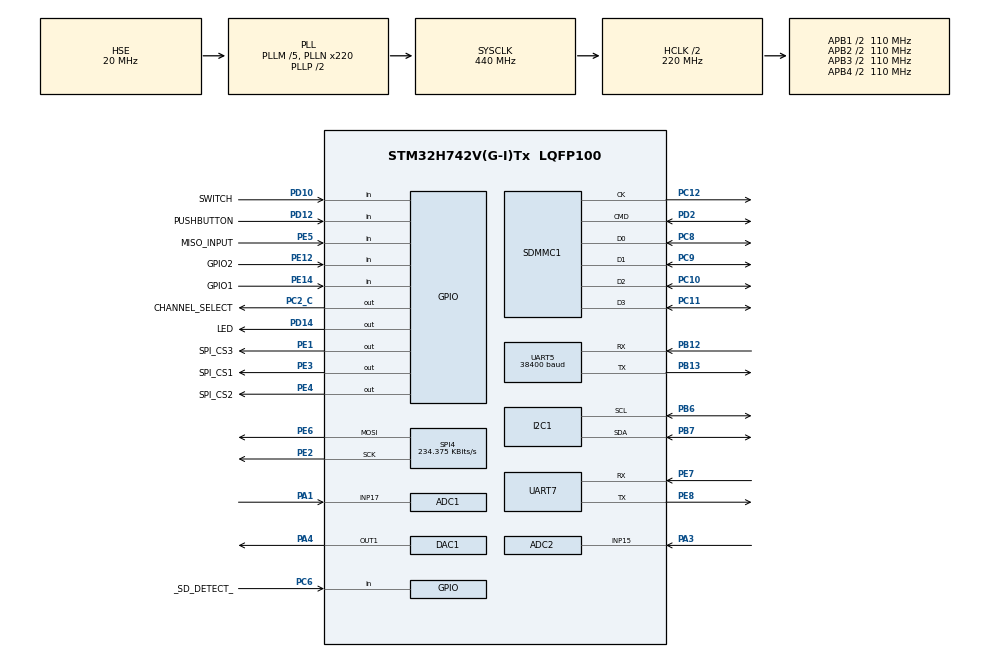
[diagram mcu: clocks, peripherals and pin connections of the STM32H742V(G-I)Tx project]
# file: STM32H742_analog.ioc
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ADC1.Channel-1\#ChannelRegularConversion=ADC_CHANNEL_17
ADC1.ClockPrescaler=ADC_CLOCK_ASYNC_DIV2
ADC1.ClockPrescalerADC3=ADC_CLOCK_ASYNC_DIV2
ADC1.Mode=ADC_DUALMODE_REGSIMULT
ADC1.NbrOfConversionFlag=1
ADC1.OffsetNumber-1\#ChannelRegularConversion=ADC_OFFSET_NONE
ADC1.OffsetSignedSaturation-1\#ChannelRegularConversion=DISABLE
ADC1.Overrun=ADC_OVR_DATA_OVERWRITTEN
ADC1.Rank-1\#ChannelRegularConversion=1
ADC1.SamplingTime-1\#ChannelRegularConversion=ADC_SAMPLETIME_16CYCLES_5
ADC1.master=1
ADC2.Channel-1\#ChannelRegularConversion=ADC_CHANNEL_15
ADC2.ClockPrescaler=ADC_CLOCK_ASYNC_DIV2
ADC2.ClockPrescalerADC3=ADC_CLOCK_ASYNC_DIV2
ADC2.Mode=ADC_DUALMODE_REGSIMULT
ADC2.NbrOfConversionFlag=1
ADC2.OffsetNumber-1\#ChannelRegularConversion=ADC_OFFSET_NONE
ADC2.OffsetSignedSaturation-1\#ChannelRegularConversion=DISABLE
ADC2.Overrun=ADC_OVR_DATA_OVERWRITTEN
ADC2.Rank-1\#ChannelRegularConversion=1
ADC2.SamplingTime-1\#ChannelRegularConversion=ADC_SAMPLETIME_16CYCLES_5
CORTEX_M7.CPU_DCache=Enabled
CORTEX_M7.CPU_ICache=Enabled
CORTEX_M7.default_mode_Activation=1
DAC1.DAC_Channel-DAC_OUT1=DAC_CHANNEL_1
FATFS.BSP.number=1
FATFS0.BSP.STBoard=false
FATFS0.BSP.api=Unknown
FATFS0.BSP.instance=PC6
FATFS0.BSP.ip=GPIO
FATFS0.BSP.mode=Input
FATFS0.BSP.name=Detect_SDIO
FATFS0.BSP.solution=PC6
I2C1.Analog_Filter=I2C_ANALOGFILTER_DISABLE
I2C1.Timing=0x00404D75
Mcu.Family=STM32H7
Mcu.Name=STM32H742V(G-I)Tx
Mcu.Package=LQFP100
NVIC.PriorityGroup=NVIC_PRIORITYGROUP_4
NVIC.TIM2_IRQn=true\:0\:0\:false\:false\:true\:true\:true\:true
NVIC.UART5_IRQn=true\:10\:0\:true\:false\:true\:true\:true\:true
NVIC.UART7_IRQn=true\:10\:0\:true\:false\:true\:true\:true\:true
PA1.Mode=IN17-Single-Ended
PA1.Signal=ADC1_INP17
PA13\ (JTMS/SWDIO).Mode=JTAG_4_pins
PA13\ (JTMS/SWDIO).Signal=DEBUG_JTMS-SWDIO
PA14\ (JTCK/SWCLK).Mode=JTAG_4_pins
PA14\ (JTCK/SWCLK).Signal=DEBUG_JTCK-SWCLK
PA15\ (JTDI).Mode=JTAG_4_pins
PA15\ (JTDI).Signal=DEBUG_JTDI
PA3.Signal=ADCx_INP15
PA4.Signal=COMP_DAC11_group
PB12.Mode=Asynchronous
PB12.Signal=UART5_RX
PB13.Mode=Asynchronous
PB13.Signal=UART5_TX
PB3\ (JTDO/TRACESWO).Mode=JTAG_4_pins
PB3\ (JTDO/TRACESWO).Signal=DEBUG_JTDO-SWO
PB6.GPIO_Speed=GPIO_SPEED_FREQ_MEDIUM
PB6.Mode=I2C
PB6.Signal=I2C1_SCL
PB7.GPIO_Speed=GPIO_SPEED_FREQ_MEDIUM
PB7.Mode=I2C
PB7.Signal=I2C1_SDA
PC10.GPIO_PuPd=GPIO_PULLUP
PC10.GPIO_Speed_High_Default=GPIO_SPEED_FREQ_MEDIUM
PC10.Mode=SD_4_bits_Wide_bus
PC10.Signal=SDMMC1_D2
PC11.GPIO_PuPd=GPIO_PULLUP
PC11.GPIO_Speed_High_Default=GPIO_SPEED_FREQ_MEDIUM
PC11.Mode=SD_4_bits_Wide_bus
PC11.Signal=SDMMC1_D3
PC12.GPIO_Speed_High_Default=GPIO_SPEED_FREQ_MEDIUM
PC12.Mode=SD_4_bits_Wide_bus
PC12.Signal=SDMMC1_CK
PC2_C.GPIO_Label=CHANNEL_SELECT
PC2_C.Signal=GPIO_Output
PC6.GPIO_Label=_SD_DETECT_
PC6.GPIO_PuPd=GPIO_PULLUP
PC6.Signal=GPIO_Input
PC8.GPIO_PuPd=GPIO_PULLUP
PC8.GPIO_Speed_High_Default=GPIO_SPEED_FREQ_MEDIUM
PC8.Mode=SD_4_bits_Wide_bus
PC8.Signal=SDMMC1_D0
PC9.GPIO_PuPd=GPIO_PULLUP
PC9.GPIO_Speed_High_Default=GPIO_SPEED_FREQ_MEDIUM
PC9.Mode=SD_4_bits_Wide_bus
PC9.Signal=SDMMC1_D1
PD10.GPIO_Label=SWITCH
PD10.Signal=GPIO_Input
PD12.GPIO_Label=PUSHBUTTON
PD12.Signal=GPIO_Input
PD14.GPIO_Label=LED
PD14.GPIO_Speed=GPIO_SPEED_FREQ_VERY_HIGH
PD14.Signal=GPIO_Output
PD2.GPIO_PuPd=GPIO_PULLUP
PD2.GPIO_Speed_High_Default=GPIO_SPEED_FREQ_MEDIUM
PD2.Mode=SD_4_bits_Wide_bus
PD2.Signal=SDMMC1_CMD
PE1.GPIO_Label=SPI_CS3
PE1.Signal=GPIO_Output
PE12.GPIO_Label=GPIO2
PE12.GPIO_PuPd=GPIO_PULLUP
PE12.Signal=GPIO_Input
PE14.GPIO_Label=GPIO1
PE14.GPIO_PuPd=GPIO_PULLUP
PE14.Signal=GPIO_Input
PE2.Mode=TX_Only_Simplex_Unidirect_Master
PE2.Signal=SPI4_SCK
PE3.GPIO_Label=SPI_CS1
PE3.Signal=GPIO_Output
PE4.GPIO_Label=SPI_CS2
PE4.GPIO_ModeDefaultOutputPP=GPIO_MODE_OUTPUT_PP
PE4.GPIO_PuPd=GPIO_NOPULL
PE4.Signal=GPIO_Output
PE5.GPIO_Label=MISO_INPUT
PE5.Signal=GPIO_Input
PE6.Mode=TX_Only_Simplex_Unidirect_Master
PE6.Signal=SPI4_MOSI
PE7.GPIO_PuPd=GPIO_PULLUP
PE7.Mode=Asynchronous
PE7.Signal=UART7_RX
PE8.Mode=Asynchronous
PE8.Signal=UART7_TX
PH0-OSC_IN\ (PH0).Mode=HSE-External-Clock-Source
PH0-OSC_IN\ (PH0).Signal=RCC_OSC_IN
ProjectManager.HeapSize=0x200
ProjectManager.StackSize=0x400
ProjectManager.TargetToolchain=STM32CubeIDE
RCC.ADCCLockSelection=RCC_ADCCLKSOURCE_PLL3
RCC.ADCFreq_Value=20000000
RCC.APB1Freq_Value=110000000
RCC.APB2Freq_Value=110000000
RCC.APB3Freq_Value=110000000
RCC.APB4Freq_Value=110000000
RCC.CortexFreq_Value=440000000
RCC.D1PPRE=RCC_APB3_DIV2
RCC.D2PPRE1=RCC_APB1_DIV2
RCC.D2PPRE2=RCC_APB2_DIV2
RCC.D3PPRE=RCC_APB4_DIV2
RCC.DIVM1=5
RCC.DIVM2=10
RCC.DIVM3=10
RCC.DIVN1=220
RCC.DIVN2=240
RCC.DIVN3=240
RCC.DIVP2=8
RCC.DIVP3=8
RCC.DIVQ2=64
RCC.DIVQ3=10
RCC.DIVR2=8
RCC.DIVR3=24
RCC.FLatency-AdvancedSettings=FLASH_LATENCY_0
RCC.HCLKFreq_Value=220000000
RCC.HPRE=RCC_HCLK_DIV2
RCC.HSE_VALUE=20000000
RCC.I2C123CLockSelection=RCC_I2C123CLKSOURCE_PLL3
RCC.PLL1_VCI_Range-AdvancedSettings=RCC_PLL1VCIRANGE_0
RCC.PLL1_VCO_SEL-AdvancedSettings=RCC_PLL1VCOMEDIUM
RCC.PLL2_VCI_Range-AdvancedSettings=RCC_PLL2VCIRANGE_0
RCC.PLL3_VCI_Range-AdvancedSettings=RCC_PLL3VCIRANGE_0
RCC.PLL3_VCO_SEL-AdvancedSettings=RCC_PLL3VCOMEDIUM
RCC.PLLSourceVirtual=RCC_PLLSOURCE_HSE
RCC.SDMMC1CLockSelection=RCC_SDMMCCLKSOURCE_PLL2
RCC.SPI123CLockSelection=RCC_SPI123CLKSOURCE_PLL3
RCC.SYSCLKFreq_VALUE=440000000
RCC.SYSCLKSource=RCC_SYSCLKSOURCE_PLLCLK
RCC.Spi45ClockSelection=RCC_SPI45CLKSOURCE_PLL2
RCC.USART234578CLockSelection=RCC_USART234578CLKSOURCE_PLL2
RCC.USBCLockSelection=RCC_USBCLKSOURCE_PLL3
RCC.USBFreq_Value=48000000
SDMMC1.ClockDiv=3
SH.ADCx_INP15.0=ADC2_INP15,IN15-Single-Ended
SH.COMP_DAC11_group.0=DAC1_OUT1,DAC_OUT1
SPI4.BaudRatePrescaler=SPI_BAUDRATEPRESCALER_32
SPI4.CalculateBaudRate=234.375 KBits/s
SPI4.DataSize=SPI_DATASIZE_8BIT
SPI4.Direction=SPI_DIRECTION_2LINES_TXONLY
SPI4.Mode=SPI_MODE_MASTER
SPI4.VirtualType=VM_MASTER
TIM2.AutoReloadPreload=TIM_AUTORELOAD_PRELOAD_ENABLE
TIM2.CounterMode=TIM_COUNTERMODE_DOWN
TIM2.Period=999
TIM2.TIM_MasterOutputTrigger=TIM_TRGO_UPDATE
UART5.BaudRate=38400
VP_FATFS_VS_SDIO.Mode=SDIO
VP_MEMORYMAP_VS_MEMORYMAP.Mode=CurAppReg
VP_TIM2_VS_ClockSourceINT.Mode=Internal
VREF+.Mode=InternalMode
VREF+.Signal=VREFBUF_OUT
VREFBUF.VoltageScaling=SYSCFG_VREFBUF_VOLTAGE_SCALE0
board=custom

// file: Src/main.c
/* USER CODE BEGIN Header */
/**
  ******************************************************************************
  * @file           : main.c
  * @brief          : Main program body
  ******************************************************************************
  * @attention
  *
  * Copyright (c) 2025 STMicroelectronics.
  * All rights reserved.
  *
  * This software is licensed under terms that can be found in the LICENSE file
  * in the root directory of this software component.
  * If no LICENSE file comes with this software, it is provided AS-IS.
  *
  ******************************************************************************
  */
/* USER CODE END Header */
#include "main.h"
#include "fatfs.h"

/* USER CODE BEGIN Includes */
#include <string.h> // memcpy
#include <unistd.h> // sbrk
#include <stdio.h> // sprintf
#include "../os/hal_plat.h" // HAL
#include "../os/commands.h"
#include "instances.h"
#include "../os/resource.h"
#include "../os/parser.h"
#include "sdfatfs_wrapper.h"
#include "adcdac.h"
#include "../os/terminal_input.h"
#include "../pcmstream/pcmstream.h"

/* USER CODE END Includes */

/* USER CODE BEGIN PD */

fifo_t* console_usart_stream;
fifo_t* aux_usart_stream;

/* USER CODE END PD */

ADC_HandleTypeDef hadc1;
ADC_HandleTypeDef hadc2;

DAC_HandleTypeDef hdac1;

I2C_HandleTypeDef hi2c1;

SD_HandleTypeDef hsd1;

SPI_HandleTypeDef hspi4;

TIM_HandleTypeDef htim2;

UART_HandleTypeDef huart5;
UART_HandleTypeDef huart7;

void SystemClock_Config(void);
void PeriphCommonClock_Config(void);
static void MPU_Config(void);
static void MX_GPIO_Init(void);
static void MX_ADC1_Init(void);
static void MX_ADC2_Init(void);
static void MX_DAC1_Init(void);
static void MX_SDMMC1_SD_Init(void);
static void MX_UART5_Init(void);
static void MX_SPI4_Init(void);
static void MX_I2C1_Init(void);
static void MX_TIM2_Init(void);
static void MX_UART7_Init(void);

/* USER CODE BEGIN 0 */

void rf_pll_register_write (uint32_t r) {
	uint32_t n = u32_swap_endian(r); // max2871 needs big-endian
	HAL_GPIO_WritePin(SPI_CS3_GPIO_Port, SPI_CS3_Pin, GPIO_PIN_RESET); // LE low
	HAL_SPI_Transmit(&hspi4, (uint8_t*)&n, sizeof(n), 500); // Transmit 32 bits
	HAL_GPIO_WritePin(SPI_CS3_GPIO_Port, SPI_CS3_Pin, GPIO_PIN_SET); // LE high
}

void rf_pll_idle_wait (void) {
	HAL_GPIO_WritePin(SPI_CS3_GPIO_Port, SPI_CS3_Pin, GPIO_PIN_SET);
	HAL_Delay(30);
}

void lo_pll_register_write (uint32_t r) {
	uint32_t n = u32_swap_endian(r); // max2871 needs big-endian
	HAL_GPIO_WritePin(SPI_CS2_GPIO_Port, SPI_CS2_Pin, GPIO_PIN_RESET); // LE low
	HAL_SPI_Transmit(&hspi4, (uint8_t*)&n, sizeof(n), 500); // Transmit 32 bits
	HAL_GPIO_WritePin(SPI_CS2_GPIO_Port, SPI_CS2_Pin, GPIO_PIN_SET); // LE high
}

void lo_pll_idle_wait (void) {
	HAL_GPIO_WritePin(SPI_CS2_GPIO_Port, SPI_CS2_Pin, GPIO_PIN_SET);
	HAL_Delay(30);
}

void attenuator_write (bda4700_t* instance, uint8_t n) {
	HAL_GPIO_WritePin(SPI_CS1_GPIO_Port, SPI_CS1_Pin, GPIO_PIN_RESET); // LE low
	HAL_SPI_Transmit(&hspi4, &n, sizeof(n), 500); // Transmit 8 bits
	HAL_GPIO_WritePin(SPI_CS1_GPIO_Port, SPI_CS1_Pin, GPIO_PIN_SET); // LE high
}

#define AT24C256_I2CADDR (0xA0)
#define AT24C256_PAGE (64)
#define AT24C256_MAX_PAGEADDRESS ((32768) / (AT24C256_PAGE))

int
at24c256_read_page (blockdevice_t* blockdevice, int pageaddress) {
	int ret = AT24C256_PAGE;
	HAL_StatusTypeDef rc;

	if (pageaddress >= AT24C256_MAX_PAGEADDRESS) {
		return 0;
	}
	uint8_t wpayload[2];

	wpayload[0] = ((pageaddress * AT24C256_PAGE) >> 8) & 0xFF; // MSB
	wpayload[1] = (pageaddress * AT24C256_PAGE) & 0xFF; // LSB
	rc = HAL_I2C_Master_Transmit(&hi2c1, AT24C256_I2CADDR, wpayload, sizeof(wpayload), 500);
	if (rc) {
		console_printf("i2c error 1 %i", rc);
		ret = 0;
	}
	rc = HAL_I2C_Master_Receive(&hi2c1, AT24C256_I2CADDR, (uint8_t*)blockdevice->buffer, AT24C256_PAGE, 500);
	if (rc) {
		console_printf("i2c error 2 %i", rc);
		ret = 0;
	}
	return ret;
}

int
at24c256_write_page (blockdevice_t* blockdevice, int pageaddress) {
	int ret = AT24C256_PAGE;
	HAL_StatusTypeDef rc;

	if (pageaddress >= AT24C256_MAX_PAGEADDRESS) {
		return 0;
	}
	uint8_t wpayload[2 + AT24C256_PAGE];

	wpayload[0] = ((pageaddress * AT24C256_PAGE) >> 8) & 0xFF; // MSB
	wpayload[1] = (pageaddress * AT24C256_PAGE) & 0xFF; // LSB
	memcpy(&(wpayload[2]), blockdevice->buffer, AT24C256_PAGE);

	rc = HAL_I2C_Master_Transmit(&hi2c1, AT24C256_I2CADDR, wpayload, sizeof(wpayload), 500);
	if (rc) {
		console_printf("i2c w error %i", rc);
		ret = 0;
	}
	delay_ms(100);

	return ret;
}

#define RAMDRIVE_PAGE (64)
#define RAMDRIVE_SIZE (32768)
#define RAMDRIVE_MAX_PAGEADDRESS ((32768) / (RAMDRIVE_PAGE))

int
ramdrive_read_page (blockdevice_t* blockdevice, int pageaddress) {
	if (pageaddress >= RAMDRIVE_MAX_PAGEADDRESS) {
		return 0;
	}
	memcpy(blockdevice->buffer, blockdevice->context + (pageaddress * RAMDRIVE_PAGE), RAMDRIVE_PAGE);
	return RAMDRIVE_PAGE;
}

int
ramdrive_write_page (blockdevice_t* blockdevice, int pageaddress) {
	if (pageaddress >= RAMDRIVE_MAX_PAGEADDRESS) {
		return 0;
	}
	memcpy(blockdevice->context + (pageaddress * RAMDRIVE_PAGE), blockdevice->buffer, RAMDRIVE_PAGE);
	return RAMDRIVE_PAGE;
}

char get_online_char (void) {
	char c;
	fifo_pop_or_sleep(console_usart_stream, &c);
	return c;
}

int wait_online_char (int timeout) {
	while (fifo_isempty(console_usart_stream)) {
		delay_ms(10);
		timeout -= 10;
		if (timeout <= 0) {
			return 0;
		}
	}
	return 1;
}

void put_online_char (char c) {
	console_putchar(c);
}

char get_aux_uart_char (void) {
	char c;
	fifo_pop_or_sleep(aux_usart_stream, &c);
	return c;
}

int wait_aux_uart_char (int timeout) {
	while (fifo_isempty(aux_usart_stream)) {
		delay_ms(10);
		timeout -= 10;
		if (timeout <= 0) {
			return 0;
		}
	}
	return 1;
}

void put_aux_uart_char (const char c) {
	HAL_UART_Transmit(&huart7, (uint8_t*)&c, 1, 1);
}

/* USER CODE END 0 */

int main(void)
{

  /* USER CODE BEGIN 1 */

  blockdevice_t *eeprom;
  blockdevice_t *ramdrive;
  fs_t *ramfs;

  /* USER CODE END 1 */

  /* MPU Configuration--------------------------------------------------------*/
  MPU_Config();

  /* Enable the CPU Cache */

  /* Enable I-Cache---------------------------------------------------------*/
  SCB_EnableICache();

  /* Enable D-Cache---------------------------------------------------------*/
  SCB_EnableDCache();

  /* MCU Configuration--------------------------------------------------------*/

  /* Reset of all peripherals, Initializes the Flash interface and the Systick. */
  HAL_Init();

  /* USER CODE BEGIN Init */

  console_usart_stream = fifo_create(16, sizeof(char));
  if (!console_usart_stream) {
	  cpu_halt();
  }

  aux_usart_stream = fifo_create(128, sizeof(char));
  if (!aux_usart_stream) {
  	  cpu_halt();
  }

  /* USER CODE END Init */

  /* Configure the system clock */
  SystemClock_Config();

  /* Configure the peripherals common clocks */
  PeriphCommonClock_Config();

  /* Initialize all configured peripherals */
  MX_GPIO_Init();
  MX_ADC1_Init();
  MX_ADC2_Init();
  MX_DAC1_Init();
  MX_SDMMC1_SD_Init();
  MX_UART5_Init();
  MX_FATFS_Init();
  MX_SPI4_Init();
  MX_I2C1_Init();
  MX_TIM2_Init();
  MX_UART7_Init();
  /* USER CODE BEGIN 2 */

  __HAL_UART_ENABLE_IT(&huart5, UART_IT_RXNE);
  __HAL_UART_ENABLE_IT(&huart7, UART_IT_RXNE);

  NVIC_EnableIRQ(TIM2_IRQn);

  console_printf("");

  scheduler = scheduler_create();
  if (!scheduler) {
	  console_printf("scheduler init error");
	  cpu_halt();
  }

  // RF PLL instance
  rf_pll = max2871_create(rf_pll_register_write, rf_pll_idle_wait);
  if (!rf_pll) {
	  console_printf("RF PLL init error");
	  cpu_halt();
  }

  // LO PLL instance
  lo_pll = max2871_create(lo_pll_register_write, lo_pll_idle_wait);
  if (!lo_pll) {
	  console_printf("LO PLL init error");
	  cpu_halt();
  }

  // Attenuator instance
  attenuator = bda4700_create(attenuator_write);
  if (!attenuator) {
  	  console_printf("Attenuator init error");
  	  cpu_halt();
  }

  // EEPROM instance
  eeprom = blockdevice_create(AT24C256_PAGE, AT24C256_MAX_PAGEADDRESS, at24c256_read_page, at24c256_write_page, NULL);
  if (!eeprom) {
	  console_printf("EEPROM init error");
	  cpu_halt();
  }
  //eeprom->read_block(eeprom, 0); // XXX This is to try to mitigate a rare I2C startup bug

  eepromfs = fs_create(eeprom);
  if (!eepromfs) {
  	  console_printf("eepromFS init error");
  	  cpu_halt();
  }

  if (!fs_verify(eepromfs)) {
	  delay_ms(2000);
	  console_printf("m1:0x%04x m2:0x%04x entries:%i", eepromfs->params.magic1, eepromfs->params.magic2, eepromfs->params.rootdir_entries);
  	  console_printf("Formatting EEPROM");
  	  //fs_format(eepromfs, 16);
  }

  void* ramdrvmem = t_malloc(RAMDRIVE_SIZE);
  if (!ramdrvmem) {
  	  console_printf("RAMDRIVE alloc error");
  	  cpu_halt();
    }
  // RAM instance
  ramdrive = blockdevice_create(RAMDRIVE_PAGE, RAMDRIVE_MAX_PAGEADDRESS, ramdrive_read_page, ramdrive_write_page, ramdrvmem);
  if (!ramdrive) {
	  console_printf("RAMDRIVE init error");
	  cpu_halt();
  }

  ramfs = fs_create(ramdrive);
  if (!ramfs) {
  	  console_printf("ramFS init error");
  	  cpu_halt();
  }
  fs_format(ramfs, 16); // Always format the ramdrive at each stratup

  fs = fs_broker_create();
  if (!fs) {
	  console_printf("FSbroker init error");
	  cpu_halt();
  }

  fs_broker_register_fs(fs,
		  	  	  	    eepromfs,
						'E',
		  	  	  	    (int (*)(void*, char*, int)) fs_open,
						(void (*) (void*, int)) fs_close,
						(void (*) (void*, int)) fs_rewind,
						(int (*) (void*, int, char*, int)) fs_read,
						(int (*) (void*, int, int)) fs_watch_read,
						(int (*) (void*, int, char*, int)) fs_write,
						(int (*) (void*, char*)) fs_delete,
						(int (*) (void*)) fs_opendir,
						(int (*) (void*, char**, int*)) fs_walkdir,
						(int (*) (void*)) fs_closedir);

  fs_broker_register_fs(fs,
		  	  	  	    ramfs,
						'M',
		  	  	  	    (int (*)(void*, char*, int)) fs_open,
						(void (*) (void*, int)) fs_close,
						(void (*) (void*, int)) fs_rewind,
						(int (*) (void*, int, char*, int)) fs_read,
						(int (*) (void*, int, int)) fs_watch_read,
						(int (*) (void*, int, char*, int)) fs_write,
						(int (*) (void*, char*)) fs_delete,
						(int (*) (void*)) fs_opendir,
						(int (*) (void*, char**, int*)) fs_walkdir,
						(int (*) (void*)) fs_closedir);

  if (!HAL_GPIO_ReadPin(_SD_DETECT__GPIO_Port, _SD_DETECT__Pin)) { // grounded pin means SD card is inserted
	  sdfatfs_wrapper_t sdfatfs;
	  if (!sdfatfswrapper_init(&sdfatfs)) {
		  console_printf("SDFATFS init error");
		  cpu_halt();
	  }
	  fs_broker_register_fs(fs,
							&sdfatfs,
							'S',
							(int (*)(void*, char*, int)) sdfatfswrapper_open,
							(void (*) (void* fs, int fd)) sdfatfswrapper_close,
							(void (*) (void*, int)) sdfatfswrapper_rewind,
							(int (*) (void* fs, int fd, char* buf, int count)) sdfatfswrapper_read,
							(int (*) (void* fs, int fd, int ms)) sdfatfswrapper_watch_read,
							(int (*) (void* fs, int fd, char* buf, int count)) sdfatfswrapper_write,
							(int (*) (void*, char*)) sdfatfswrapper_delete,
							(int (*) (void*)) sdfatfswrapper_opendir,
							(int (*) (void*, char**, int*)) sdfatfswrapper_walkdir,
							(int (*) (void*)) sdfatfswrapper_closedir);
  }

  program = program_create(20, 80); // 20 lines, 80 characters each -> 1.6k max program size
  if (!program) {
  	  console_printf("program init error");
  	  cpu_halt();
  }

  generic_fs_t *devfs = generic_fs_create();
  if (!ramfs) {
	  console_printf("devfs init error");
	  cpu_halt();
  }

  generic_file_t *nullfile = generic_file_create ("null", NULL,
													  nullfile_open,
													  nullfile_close,
													  nullfile_read,
													  nullfile_watch_read,
													  nullfile_write);

  if (generic_fs_register_file(devfs, nullfile) < 0) {
	  console_printf("file reg error");
	  cpu_halt();
  }

  terminal_input_t* terminal = terminal_input_create(get_online_char,
		  	  	  	  	  	  	  	  	  	  	     wait_online_char,
													 put_online_char,
													 1,
													 program->header.fields.linelen - 2);
  if (!terminal) {
  	  console_printf("terminal init error");
  	  cpu_halt();
  }

  generic_file_t *confile = generic_file_create ("con", terminal,
													  nullfile_open,
													  nullfile_close,
													  consolefile_readline_canonical,
													  consolefile_watch_read,
													  consolefile_write);

  if (generic_fs_register_file(devfs, confile) < 0) {
	  console_printf("file reg error");
	  cpu_halt();
  }

  terminal_input_t* aux_uart = terminal_input_create(get_aux_uart_char,
          	  	  	  	  	  	  	  	  	  	  	 wait_aux_uart_char,
													 put_aux_uart_char,
													 0,
													 8); // Line is not used
  if (!aux_uart) {
  	  console_printf("terminal init error");
  	  cpu_halt();
  }

  generic_file_t *uartfile = generic_file_create ("uart", aux_uart,
													  nullfile_open,
													  nullfile_close,
													  consolefile_read,
													  consolefile_watch_read,
													  consolefile_write);

  if (generic_fs_register_file(devfs, uartfile) < 0) {
	  console_printf("file reg error");
	  cpu_halt();
  }

  fs_broker_register_fs(fs,
		  	  	  	    devfs,
						'D',
		  	  	  	    (int (*)(void*, char*, int)) generic_fs_open,
						(void (*) (void*, int)) generic_fs_close,
						(void (*) (void*, int)) generic_fs_rewind,
						(int (*) (void*, int, char*, int)) generic_fs_read,
						(int (*) (void*, int, int)) generic_fs_watch_read,
						(int (*) (void*, int, char*, int)) generic_fs_write,
						(int (*) (void*, char*)) generic_fs_delete,
						(int (*) (void*)) generic_fs_opendir,
						(int (*) (void*, char**, int*)) generic_fs_walkdir,
						(int (*) (void*)) generic_fs_closedir);

  setup_commands();
  pcmstream_cmds_setup();
  setup_persona_commands();

  ledflash(2);

  program_ip = 0;
  program_run = 0;
  subroutine_sp = 0;

  int fcon = open_f(fs, "D:con", 0);
  if (fcon < 0) {
	  console_printf("conio file error");
	  cpu_halt();
  }

  iostack = NULL;
  stdiostack_push(&iostack, fcon, fcon, fcon);

  if (load_autorun_program()) {
  	  console_printf("program loaded");
  	  if (!switchbreak()) {
  		  execute_program(program, NULL, NULL);
  	  }
  }

  /* USER CODE END 2 */

  /* Infinite loop */
  /* USER CODE BEGIN WHILE */
  while (1)
  {
	  command_line_loop();
	  printf_f(STDERR, "respawning..\n");

    /* USER CODE END WHILE */

  }
}

void SystemClock_Config(void)
{
  RCC_OscInitTypeDef RCC_OscInitStruct = {0};
  RCC_ClkInitTypeDef RCC_ClkInitStruct = {0};

  /** Supply configuration update enable
  */
  HAL_PWREx_ConfigSupply(PWR_LDO_SUPPLY);

  /** Configure the main internal regulator output voltage
  */
  __HAL_PWR_VOLTAGESCALING_CONFIG(PWR_REGULATOR_VOLTAGE_SCALE1);

  while(!__HAL_PWR_GET_FLAG(PWR_FLAG_VOSRDY)) {}

  __HAL_RCC_SYSCFG_CLK_ENABLE();
  __HAL_PWR_VOLTAGESCALING_CONFIG(PWR_REGULATOR_VOLTAGE_SCALE0);

  while(!__HAL_PWR_GET_FLAG(PWR_FLAG_VOSRDY)) {}

  /** Initializes the RCC Oscillators according to the specified parameters
  * in the RCC_OscInitTypeDef structure.
  */
  RCC_OscInitStruct.OscillatorType = RCC_OSCILLATORTYPE_HSE;
  RCC_OscInitStruct.HSEState = RCC_HSE_BYPASS;
  RCC_OscInitStruct.PLL.PLLState = RCC_PLL_ON;
  RCC_OscInitStruct.PLL.PLLSource = RCC_PLLSOURCE_HSE;
  RCC_OscInitStruct.PLL.PLLM = 5;
  RCC_OscInitStruct.PLL.PLLN = 220;
  RCC_OscInitStruct.PLL.PLLP = 2;
  RCC_OscInitStruct.PLL.PLLQ = 2;
  RCC_OscInitStruct.PLL.PLLR = 2;
  RCC_OscInitStruct.PLL.PLLRGE = RCC_PLL1VCIRANGE_2;
  RCC_OscInitStruct.PLL.PLLVCOSEL = RCC_PLL1VCOWIDE;
  RCC_OscInitStruct.PLL.PLLFRACN = 0;
  if (HAL_RCC_OscConfig(&RCC_OscInitStruct) != HAL_OK)
  {
    Error_Handler();
  }

  /** Initializes the CPU, AHB and APB buses clocks
  */
  RCC_ClkInitStruct.ClockType = RCC_CLOCKTYPE_HCLK|RCC_CLOCKTYPE_SYSCLK
                              |RCC_CLOCKTYPE_PCLK1|RCC_CLOCKTYPE_PCLK2
                              |RCC_CLOCKTYPE_D3PCLK1|RCC_CLOCKTYPE_D1PCLK1;
  RCC_ClkInitStruct.SYSCLKSource = RCC_SYSCLKSOURCE_PLLCLK;
  RCC_ClkInitStruct.SYSCLKDivider = RCC_SYSCLK_DIV1;
  RCC_ClkInitStruct.AHBCLKDivider = RCC_HCLK_DIV2;
  RCC_ClkInitStruct.APB3CLKDivider = RCC_APB3_DIV2;
  RCC_ClkInitStruct.APB1CLKDivider = RCC_APB1_DIV2;
  RCC_ClkInitStruct.APB2CLKDivider = RCC_APB2_DIV2;
  RCC_ClkInitStruct.APB4CLKDivider = RCC_APB4_DIV2;

  if (HAL_RCC_ClockConfig(&RCC_ClkInitStruct, FLASH_LATENCY_3) != HAL_OK)
  {
    Error_Handler();
  }
}

void PeriphCommonClock_Config(void)
{
  RCC_PeriphCLKInitTypeDef PeriphClkInitStruct = {0};

  /** Initializes the peripherals clock
  */
  PeriphClkInitStruct.PeriphClockSelection = RCC_PERIPHCLK_ADC|RCC_PERIPHCLK_I2C1
                              |RCC_PERIPHCLK_SDMMC|RCC_PERIPHCLK_SPI4
                              |RCC_PERIPHCLK_UART5|RCC_PERIPHCLK_UART7;
  PeriphClkInitStruct.PLL2.PLL2M = 10;
  PeriphClkInitStruct.PLL2.PLL2N = 240;
  PeriphClkInitStruct.PLL2.PLL2P = 8;
  PeriphClkInitStruct.PLL2.PLL2Q = 64;
  PeriphClkInitStruct.PLL2.PLL2R = 8;
  PeriphClkInitStruct.PLL2.PLL2RGE = RCC_PLL2VCIRANGE_1;
  PeriphClkInitStruct.PLL2.PLL2VCOSEL = RCC_PLL2VCOWIDE;
  PeriphClkInitStruct.PLL2.PLL2FRACN = 0;
  PeriphClkInitStruct.PLL3.PLL3M = 10;
  PeriphClkInitStruct.PLL3.PLL3N = 240;
  PeriphClkInitStruct.PLL3.PLL3P = 8;
  PeriphClkInitStruct.PLL3.PLL3Q = 10;
  PeriphClkInitStruct.PLL3.PLL3R = 24;
  PeriphClkInitStruct.PLL3.PLL3RGE = RCC_PLL3VCIRANGE_1;
  PeriphClkInitStruct.PLL3.PLL3VCOSEL = RCC_PLL3VCOWIDE;
  PeriphClkInitStruct.PLL3.PLL3FRACN = 0;
  PeriphClkInitStruct.SdmmcClockSelection = RCC_SDMMCCLKSOURCE_PLL2;
  PeriphClkInitStruct.Spi45ClockSelection = RCC_SPI45CLKSOURCE_PLL2;
  PeriphClkInitStruct.Usart234578ClockSelection = RCC_USART234578CLKSOURCE_PLL2;
  PeriphClkInitStruct.I2c123ClockSelection = RCC_I2C123CLKSOURCE_PLL3;
  PeriphClkInitStruct.AdcClockSelection = RCC_ADCCLKSOURCE_PLL3;
  if (HAL_RCCEx_PeriphCLKConfig(&PeriphClkInitStruct) != HAL_OK)
  {
    Error_Handler();
  }
}

static void MX_ADC1_Init(void)
{

  ADC_MultiModeTypeDef multimode = {0};
  ADC_ChannelConfTypeDef sConfig = {0};

  /** Common config
  */
  hadc1.Instance = ADC1;
  hadc1.Init.ClockPrescaler = ADC_CLOCK_ASYNC_DIV2;
  hadc1.Init.ScanConvMode = ADC_SCAN_DISABLE;
  hadc1.Init.EOCSelection = ADC_EOC_SINGLE_CONV;
  hadc1.Init.LowPowerAutoWait = DISABLE;
  hadc1.Init.ContinuousConvMode = DISABLE;
  hadc1.Init.NbrOfConversion = 1;
  hadc1.Init.DiscontinuousConvMode = DISABLE;
  hadc1.Init.ExternalTrigConv = ADC_SOFTWARE_START;
  hadc1.Init.ExternalTrigConvEdge = ADC_EXTERNALTRIGCONVEDGE_NONE;
  hadc1.Init.ConversionDataManagement = ADC_CONVERSIONDATA_DR;
  hadc1.Init.Overrun = ADC_OVR_DATA_OVERWRITTEN;
  hadc1.Init.LeftBitShift = ADC_LEFTBITSHIFT_NONE;
  hadc1.Init.OversamplingMode = DISABLE;
  hadc1.Init.Oversampling.Ratio = 1;
  if (HAL_ADC_Init(&hadc1) != HAL_OK)
  {
    Error_Handler();
  }
  hadc1.Init.Resolution = ADC_RESOLUTION_16B;
  if (HAL_ADC_Init(&hadc1) != HAL_OK)
  {
    Error_Handler();
  }

  /** Configure the ADC multi-mode
  */
  multimode.Mode = ADC_DUALMODE_REGSIMULT;
  multimode.DualModeData = ADC_DUALMODEDATAFORMAT_DISABLED;
  multimode.TwoSamplingDelay = ADC_TWOSAMPLINGDELAY_1CYCLE;
  if (HAL_ADCEx_MultiModeConfigChannel(&hadc1, &multimode) != HAL_OK)
  {
    Error_Handler();
  }

  /** Configure Regular Channel
  */
  sConfig.Channel = ADC_CHANNEL_17;
  sConfig.Rank = ADC_REGULAR_RANK_1;
  sConfig.SamplingTime = ADC_SAMPLETIME_16CYCLES_5;
  sConfig.SingleDiff = ADC_SINGLE_ENDED;
  sConfig.OffsetNumber = ADC_OFFSET_NONE;
  sConfig.Offset = 0;
  sConfig.OffsetSignedSaturation = DISABLE;
  if (HAL_ADC_ConfigChannel(&hadc1, &sConfig) != HAL_OK)
  {
    Error_Handler();
  }

}

static void MX_ADC2_Init(void)
{

  ADC_ChannelConfTypeDef sConfig = {0};

  /** Common config
  */
  hadc2.Instance = ADC2;
  hadc2.Init.ClockPrescaler = ADC_CLOCK_ASYNC_DIV2;
  hadc2.Init.ScanConvMode = ADC_SCAN_DISABLE;
  hadc2.Init.EOCSelection = ADC_EOC_SINGLE_CONV;
  hadc2.Init.LowPowerAutoWait = DISABLE;
  hadc2.Init.ContinuousConvMode = DISABLE;
  hadc2.Init.NbrOfConversion = 1;
  hadc2.Init.DiscontinuousConvMode = DISABLE;
  hadc2.Init.ConversionDataManagement = ADC_CONVERSIONDATA_DR;
  hadc2.Init.Overrun = ADC_OVR_DATA_OVERWRITTEN;
  hadc2.Init.LeftBitShift = ADC_LEFTBITSHIFT_NONE;
  hadc2.Init.OversamplingMode = DISABLE;
  hadc2.Init.Oversampling.Ratio = 1;
  if (HAL_ADC_Init(&hadc2) != HAL_OK)
  {
    Error_Handler();
  }
  hadc2.Init.Resolution = ADC_RESOLUTION_16B;
  if (HAL_ADC_Init(&hadc2) != HAL_OK)
  {
    Error_Handler();
  }

  /** Configure Regular Channel
  */
  sConfig.Channel = ADC_CHANNEL_15;
  sConfig.Rank = ADC_REGULAR_RANK_1;
  sConfig.SamplingTime = ADC_SAMPLETIME_16CYCLES_5;
  sConfig.SingleDiff = ADC_SINGLE_ENDED;
  sConfig.OffsetNumber = ADC_OFFSET_NONE;
  sConfig.Offset = 0;
  sConfig.OffsetSignedSaturation = DISABLE;
  if (HAL_ADC_ConfigChannel(&hadc2, &sConfig) != HAL_OK)
  {
    Error_Handler();
  }

}

static void MX_DAC1_Init(void)
{

  DAC_ChannelConfTypeDef sConfig = {0};

  /** DAC Initialization
  */
  hdac1.Instance = DAC1;
  if (HAL_DAC_Init(&hdac1) != HAL_OK)
  {
    Error_Handler();
  }

  /** DAC channel OUT1 config
  */
  sConfig.DAC_SampleAndHold = DAC_SAMPLEANDHOLD_DISABLE;
  sConfig.DAC_Trigger = DAC_TRIGGER_NONE;
  sConfig.DAC_OutputBuffer = DAC_OUTPUTBUFFER_ENABLE;
  sConfig.DAC_ConnectOnChipPeripheral = DAC_CHIPCONNECT_DISABLE;
  sConfig.DAC_UserTrimming = DAC_TRIMMING_FACTORY;
  if (HAL_DAC_ConfigChannel(&hdac1, &sConfig, DAC_CHANNEL_1) != HAL_OK)
  {
    Error_Handler();
  }

}

static void MX_I2C1_Init(void)
{

  hi2c1.Instance = I2C1;
  hi2c1.Init.Timing = 0x00404D75;
  hi2c1.Init.OwnAddress1 = 0;
  hi2c1.Init.AddressingMode = I2C_ADDRESSINGMODE_7BIT;
  hi2c1.Init.DualAddressMode = I2C_DUALADDRESS_DISABLE;
  hi2c1.Init.OwnAddress2 = 0;
  hi2c1.Init.OwnAddress2Masks = I2C_OA2_NOMASK;
  hi2c1.Init.GeneralCallMode = I2C_GENERALCALL_DISABLE;
  hi2c1.Init.NoStretchMode = I2C_NOSTRETCH_DISABLE;
  if (HAL_I2C_Init(&hi2c1) != HAL_OK)
  {
    Error_Handler();
  }

  /** Configure Analogue filter
  */
  if (HAL_I2CEx_ConfigAnalogFilter(&hi2c1, I2C_ANALOGFILTER_DISABLE) != HAL_OK)
  {
    Error_Handler();
  }

  /** Configure Digital filter
  */
  if (HAL_I2CEx_ConfigDigitalFilter(&hi2c1, 0) != HAL_OK)
  {
    Error_Handler();
  }

}

static void MX_SDMMC1_SD_Init(void)
{

  hsd1.Instance = SDMMC1;
  hsd1.Init.ClockEdge = SDMMC_CLOCK_EDGE_RISING;
  hsd1.Init.ClockPowerSave = SDMMC_CLOCK_POWER_SAVE_DISABLE;
  hsd1.Init.BusWide = SDMMC_BUS_WIDE_4B;
  hsd1.Init.HardwareFlowControl = SDMMC_HARDWARE_FLOW_CONTROL_DISABLE;
  hsd1.Init.ClockDiv = 3;

}

static void MX_SPI4_Init(void)
{

  /* SPI4 parameter configuration*/
  hspi4.Instance = SPI4;
  hspi4.Init.Mode = SPI_MODE_MASTER;
  hspi4.Init.Direction = SPI_DIRECTION_2LINES_TXONLY;
  hspi4.Init.DataSize = SPI_DATASIZE_8BIT;
  hspi4.Init.CLKPolarity = SPI_POLARITY_LOW;
  hspi4.Init.CLKPhase = SPI_PHASE_1EDGE;
  hspi4.Init.NSS = SPI_NSS_SOFT;
  hspi4.Init.BaudRatePrescaler = SPI_BAUDRATEPRESCALER_32;
  hspi4.Init.FirstBit = SPI_FIRSTBIT_MSB;
  hspi4.Init.TIMode = SPI_TIMODE_DISABLE;
  hspi4.Init.CRCCalculation = SPI_CRCCALCULATION_DISABLE;
  hspi4.Init.CRCPolynomial = 0x0;
  hspi4.Init.NSSPMode = SPI_NSS_PULSE_ENABLE;
  hspi4.Init.NSSPolarity = SPI_NSS_POLARITY_LOW;
  hspi4.Init.FifoThreshold = SPI_FIFO_THRESHOLD_01DATA;
  hspi4.Init.TxCRCInitializationPattern = SPI_CRC_INITIALIZATION_ALL_ZERO_PATTERN;
  hspi4.Init.RxCRCInitializationPattern = SPI_CRC_INITIALIZATION_ALL_ZERO_PATTERN;
  hspi4.Init.MasterSSIdleness = SPI_MASTER_SS_IDLENESS_00CYCLE;
  hspi4.Init.MasterInterDataIdleness = SPI_MASTER_INTERDATA_IDLENESS_00CYCLE;
  hspi4.Init.MasterReceiverAutoSusp = SPI_MASTER_RX_AUTOSUSP_DISABLE;
  hspi4.Init.MasterKeepIOState = SPI_MASTER_KEEP_IO_STATE_DISABLE;
  hspi4.Init.IOSwap = SPI_IO_SWAP_DISABLE;
  if (HAL_SPI_Init(&hspi4) != HAL_OK)
  {
    Error_Handler();
  }

}

static void MX_TIM2_Init(void)
{

  TIM_ClockConfigTypeDef sClockSourceConfig = {0};
  TIM_MasterConfigTypeDef sMasterConfig = {0};

  htim2.Instance = TIM2;
  htim2.Init.Prescaler = 0;
  htim2.Init.CounterMode = TIM_COUNTERMODE_DOWN;
  htim2.Init.Period = 999;
  htim2.Init.ClockDivision = TIM_CLOCKDIVISION_DIV1;
  htim2.Init.AutoReloadPreload = TIM_AUTORELOAD_PRELOAD_ENABLE;
  if (HAL_TIM_Base_Init(&htim2) != HAL_OK)
  {
    Error_Handler();
  }
  sClockSourceConfig.ClockSource = TIM_CLOCKSOURCE_INTERNAL;
  if (HAL_TIM_ConfigClockSource(&htim2, &sClockSourceConfig) != HAL_OK)
  {
    Error_Handler();
  }
  sMasterConfig.MasterOutputTrigger = TIM_TRGO_UPDATE;
  sMasterConfig.MasterSlaveMode = TIM_MASTERSLAVEMODE_DISABLE;
  if (HAL_TIMEx_MasterConfigSynchronization(&htim2, &sMasterConfig) != HAL_OK)
  {
    Error_Handler();
  }

}

static void MX_UART5_Init(void)
{

  huart5.Instance = UART5;
  huart5.Init.BaudRate = 38400;
  huart5.Init.WordLength = UART_WORDLENGTH_8B;
  huart5.Init.StopBits = UART_STOPBITS_1;
  huart5.Init.Parity = UART_PARITY_NONE;
  huart5.Init.Mode = UART_MODE_TX_RX;
  huart5.Init.HwFlowCtl = UART_HWCONTROL_NONE;
  huart5.Init.OverSampling = UART_OVERSAMPLING_16;
  huart5.Init.OneBitSampling = UART_ONE_BIT_SAMPLE_DISABLE;
  huart5.Init.ClockPrescaler = UART_PRESCALER_DIV1;
  huart5.AdvancedInit.AdvFeatureInit = UART_ADVFEATURE_NO_INIT;
  if (HAL_UART_Init(&huart5) != HAL_OK)
  {
    Error_Handler();
  }
  if (HAL_UARTEx_SetTxFifoThreshold(&huart5, UART_TXFIFO_THRESHOLD_1_8) != HAL_OK)
  {
    Error_Handler();
  }
  if (HAL_UARTEx_SetRxFifoThreshold(&huart5, UART_RXFIFO_THRESHOLD_1_8) != HAL_OK)
  {
    Error_Handler();
  }
  if (HAL_UARTEx_DisableFifoMode(&huart5) != HAL_OK)
  {
    Error_Handler();
  }

}

static void MX_UART7_Init(void)
{

  huart7.Instance = UART7;
  huart7.Init.BaudRate = 115200;
  huart7.Init.WordLength = UART_WORDLENGTH_8B;
  huart7.Init.StopBits = UART_STOPBITS_1;
  huart7.Init.Parity = UART_PARITY_NONE;
  huart7.Init.Mode = UART_MODE_TX_RX;
  huart7.Init.HwFlowCtl = UART_HWCONTROL_NONE;
  huart7.Init.OverSampling = UART_OVERSAMPLING_16;
  huart7.Init.OneBitSampling = UART_ONE_BIT_SAMPLE_DISABLE;
  huart7.Init.ClockPrescaler = UART_PRESCALER_DIV1;
  huart7.AdvancedInit.AdvFeatureInit = UART_ADVFEATURE_NO_INIT;
  if (HAL_UART_Init(&huart7) != HAL_OK)
  {
    Error_Handler();
  }
  if (HAL_UARTEx_SetTxFifoThreshold(&huart7, UART_TXFIFO_THRESHOLD_1_8) != HAL_OK)
  {
    Error_Handler();
  }
  if (HAL_UARTEx_SetRxFifoThreshold(&huart7, UART_RXFIFO_THRESHOLD_1_8) != HAL_OK)
  {
    Error_Handler();
  }
  if (HAL_UARTEx_DisableFifoMode(&huart7) != HAL_OK)
  {
    Error_Handler();
  }

}

static void MX_GPIO_Init(void)
{
  GPIO_InitTypeDef GPIO_InitStruct = {0};

  /* GPIO Ports Clock Enable */
  __HAL_RCC_GPIOE_CLK_ENABLE();
  __HAL_RCC_GPIOH_CLK_ENABLE();
  __HAL_RCC_GPIOC_CLK_ENABLE();
  __HAL_RCC_GPIOA_CLK_ENABLE();
  __HAL_RCC_GPIOB_CLK_ENABLE();
  __HAL_RCC_GPIOD_CLK_ENABLE();

  /*Configure GPIO pin Output Level */
  HAL_GPIO_WritePin(GPIOE, SPI_CS1_Pin|SPI_CS2_Pin|SPI_CS3_Pin, GPIO_PIN_RESET);

  /*Configure GPIO pin Output Level */
  HAL_GPIO_WritePin(CHANNEL_SELECT_GPIO_Port, CHANNEL_SELECT_Pin, GPIO_PIN_RESET);

  /*Configure GPIO pin Output Level */
  HAL_GPIO_WritePin(LED_GPIO_Port, LED_Pin, GPIO_PIN_RESET);

  /*Configure GPIO pins : SPI_CS1_Pin SPI_CS2_Pin SPI_CS3_Pin */
  GPIO_InitStruct.Pin = SPI_CS1_Pin|SPI_CS2_Pin|SPI_CS3_Pin;
  GPIO_InitStruct.Mode = GPIO_MODE_OUTPUT_PP;
  GPIO_InitStruct.Pull = GPIO_NOPULL;
  GPIO_InitStruct.Speed = GPIO_SPEED_FREQ_LOW;
  HAL_GPIO_Init(GPIOE, &GPIO_InitStruct);

  /*Configure GPIO pin : MISO_INPUT_Pin */
  GPIO_InitStruct.Pin = MISO_INPUT_Pin;
  GPIO_InitStruct.Mode = GPIO_MODE_INPUT;
  GPIO_InitStruct.Pull = GPIO_NOPULL;
  HAL_GPIO_Init(MISO_INPUT_GPIO_Port, &GPIO_InitStruct);

  /*Configure GPIO pin : CHANNEL_SELECT_Pin */
  GPIO_InitStruct.Pin = CHANNEL_SELECT_Pin;
  GPIO_InitStruct.Mode = GPIO_MODE_OUTPUT_PP;
  GPIO_InitStruct.Pull = GPIO_NOPULL;
  GPIO_InitStruct.Speed = GPIO_SPEED_FREQ_LOW;
  HAL_GPIO_Init(CHANNEL_SELECT_GPIO_Port, &GPIO_InitStruct);

  /*Configure GPIO pins : GPIO2_Pin GPIO1_Pin */
  GPIO_InitStruct.Pin = GPIO2_Pin|GPIO1_Pin;
  GPIO_InitStruct.Mode = GPIO_MODE_INPUT;
  GPIO_InitStruct.Pull = GPIO_PULLUP;
  HAL_GPIO_Init(GPIOE, &GPIO_InitStruct);

  /*Configure GPIO pins : SWITCH_Pin PUSHBUTTON_Pin */
  GPIO_InitStruct.Pin = SWITCH_Pin|PUSHBUTTON_Pin;
  GPIO_InitStruct.Mode = GPIO_MODE_INPUT;
  GPIO_InitStruct.Pull = GPIO_NOPULL;
  HAL_GPIO_Init(GPIOD, &GPIO_InitStruct);

  /*Configure GPIO pin : LED_Pin */
  GPIO_InitStruct.Pin = LED_Pin;
  GPIO_InitStruct.Mode = GPIO_MODE_OUTPUT_PP;
  GPIO_InitStruct.Pull = GPIO_NOPULL;
  GPIO_InitStruct.Speed = GPIO_SPEED_FREQ_VERY_HIGH;
  HAL_GPIO_Init(LED_GPIO_Port, &GPIO_InitStruct);

  /*Configure GPIO pin : _SD_DETECT__Pin */
  GPIO_InitStruct.Pin = _SD_DETECT__Pin;
  GPIO_InitStruct.Mode = GPIO_MODE_INPUT;
  GPIO_InitStruct.Pull = GPIO_PULLUP;
  HAL_GPIO_Init(_SD_DETECT__GPIO_Port, &GPIO_InitStruct);

}

 /* MPU Configuration */

void MPU_Config(void)
{
  MPU_Region_InitTypeDef MPU_InitStruct = {0};

  /* Disables the MPU */
  HAL_MPU_Disable();

  /** Initializes and configures the Region and the memory to be protected
  */
  MPU_InitStruct.Enable = MPU_REGION_ENABLE;
  MPU_InitStruct.Number = MPU_REGION_NUMBER0;
  MPU_InitStruct.BaseAddress = 0x0;
  MPU_InitStruct.Size = MPU_REGION_SIZE_4GB;
  MPU_InitStruct.SubRegionDisable = 0x87;
  MPU_InitStruct.TypeExtField = MPU_TEX_LEVEL0;
  MPU_InitStruct.AccessPermission = MPU_REGION_NO_ACCESS;
  MPU_InitStruct.DisableExec = MPU_INSTRUCTION_ACCESS_DISABLE;
  MPU_InitStruct.IsShareable = MPU_ACCESS_SHAREABLE;
  MPU_InitStruct.IsCacheable = MPU_ACCESS_NOT_CACHEABLE;
  MPU_InitStruct.IsBufferable = MPU_ACCESS_NOT_BUFFERABLE;

  HAL_MPU_ConfigRegion(&MPU_InitStruct);
  /* Enables the MPU */
  HAL_MPU_Enable(MPU_PRIVILEGED_DEFAULT);

}

void Error_Handler(void)
{
  /* USER CODE BEGIN Error_Handler_Debug */
  /* User can add his own implementation to report the HAL error return state */
  console_printf("Insert useless error message here");
  /* USER CODE END Error_Handler_Debug */
}
